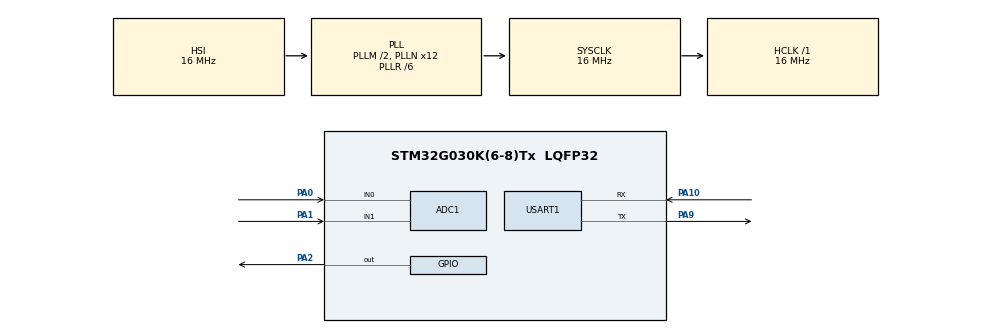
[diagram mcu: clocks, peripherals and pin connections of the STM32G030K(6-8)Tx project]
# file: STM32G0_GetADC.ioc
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ADC1.Channel-1\#ChannelRegularConversion=ADC_CHANNEL_0
ADC1.Channel-3\#ChannelRegularConversion=ADC_CHANNEL_1
ADC1.ClockPrescaler=ADC_CLOCK_ASYNC_DIV1
ADC1.ContinuousConvMode=ENABLE
ADC1.DMAContinuousRequests=ENABLE
ADC1.EOCSelection=ADC_EOC_SINGLE_CONV
ADC1.NbrOfConversion=2
ADC1.NbrOfConversionFlag=1
ADC1.OversamplingMode=ENABLE
ADC1.Rank-1\#ChannelRegularConversion=1
ADC1.Rank-3\#ChannelRegularConversion=2
ADC1.Ratio=ADC_OVERSAMPLING_RATIO_16
ADC1.RightBitShift=ADC_RIGHTBITSHIFT_4
ADC1.SamplingTime-1\#ChannelRegularConversion=ADC_SAMPLINGTIME_COMMON_1
ADC1.SamplingTime-3\#ChannelRegularConversion=ADC_SAMPLINGTIME_COMMON_1
ADC1.SamplingTimeCommon1=ADC_SAMPLETIME_160CYCLES_5
ADC1.SamplingTimeCommon2=ADC_SAMPLETIME_160CYCLES_5
ADC1.SelectedChannel=ADC_CHANNEL_0|ADC_CHANNEL_1
ADC1.master=1
Dma.ADC1.0.Direction=DMA_PERIPH_TO_MEMORY
Dma.ADC1.0.EventEnable=DISABLE
Dma.ADC1.0.Instance=DMA1_Channel1
Dma.ADC1.0.MemDataAlignment=DMA_MDATAALIGN_HALFWORD
Dma.ADC1.0.MemInc=DMA_MINC_ENABLE
Dma.ADC1.0.Mode=DMA_CIRCULAR
Dma.ADC1.0.PeriphDataAlignment=DMA_PDATAALIGN_HALFWORD
Dma.ADC1.0.PeriphInc=DMA_PINC_DISABLE
Dma.ADC1.0.Polarity=HAL_DMAMUX_REQ_GEN_RISING
Dma.ADC1.0.Priority=DMA_PRIORITY_LOW
Dma.ADC1.0.RequestNumber=1
Dma.ADC1.0.SignalID=NONE
Dma.ADC1.0.SyncEnable=DISABLE
Dma.ADC1.0.SyncPolarity=HAL_DMAMUX_SYNC_NO_EVENT
Dma.ADC1.0.SyncRequestNumber=1
Dma.ADC1.0.SyncSignalID=NONE
Dma.Request0=ADC1
Mcu.Family=STM32G0
Mcu.Name=STM32G030K(6-8)Tx
Mcu.Package=LQFP32
PA0.Mode=IN0
PA0.Signal=ADC1_IN0
PA1.Mode=IN1
PA1.Signal=ADC1_IN1
PA10.Mode=Asynchronous
PA10.Signal=USART1_RX
PA13.Mode=Serial_Wire
PA13.Signal=SYS_SWDIO
PA14-BOOT0.Mode=Serial_Wire
PA14-BOOT0.Signal=SYS_SWCLK
PA2.Signal=GPIO_Output
PA9.Mode=Asynchronous
PA9.Signal=USART1_TX
PC14-OSC32_IN\ (PC14).Mode=LSE-External-Oscillator
PC14-OSC32_IN\ (PC14).Signal=RCC_OSC32_IN
PC15-OSC32_OUT\ (PC15).Mode=LSE-External-Oscillator
PC15-OSC32_OUT\ (PC15).Signal=RCC_OSC32_OUT
ProjectManager.HeapSize=0x200
ProjectManager.StackSize=0x400
ProjectManager.TargetToolchain=MDK-ARM V5.32
RCC.ADCFreq_Value=16000000
RCC.AHBFreq_Value=16000000
RCC.CortexFreq_Value=16000000
RCC.EXTERNAL_CLOCK_VALUE=12288000
RCC.HCLKFreq_Value=16000000
RCC.HSE_VALUE=8000000
RCC.HSI_VALUE=16000000
RCC.PLLM=RCC_PLLM_DIV2
RCC.PLLN=12
RCC.PLLP=RCC_PLLP_DIV3
RCC.PLLR=RCC_PLLR_DIV6
RCC.SYSCLKFreq_VALUE=16000000
RCC.SYSCLKSource=RCC_SYSCLKSOURCE_PLLCLK
RCC.VCOOutputFreq_Value=96000000
USART1.VirtualMode-Asynchronous=VM_ASYNC
board=custom

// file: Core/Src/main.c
/* USER CODE BEGIN Header */
/**
  ******************************************************************************
  * @file           : main.c
  * @brief          : Main program body
  ******************************************************************************
  * @attention
  *
  * Copyright (c) 2025 STMicroelectronics.
  * All rights reserved.
  *
  * This software is licensed under terms that can be found in the LICENSE file
  * in the root directory of this software component.
  * If no LICENSE file comes with this software, it is provided AS-IS.
  *
  ******************************************************************************
  */
/* USER CODE END Header */
#include "main.h"
#include "adc.h"
#include "dma.h"
#include "usart.h"
#include "gpio.h"

/* USER CODE BEGIN Includes */
#include "stdio.h"
/* USER CODE END Includes */

void SystemClock_Config(void);

/* USER CODE BEGIN 0 */
float AD1_Value;
float AD0_Value;
float VOL_Value;
float CUR_Value;  // 去掉重复定义
float Input_V;
float Motor_V;
float Motor_I;
float W_Value;
ADC_ChannelConfTypeDef sConfig = {0};
uint16_t Get_ADC[80];
uint16_t ADValue;
float Voltage;
float W_Input_Value;
float W_Motor_Value;
float VOffset = 0.0f;
float IOffset = 0.0f;
int A = 0;
uint16_t Get_ADC1[2];
 float adc_vol1 =0;
 float adc_cur1 =0;

// 电压均值滤波参数
#define VOL_AVG_FILTER_LEN 40
float vol_avg_buf[VOL_AVG_FILTER_LEN] = {0};
int vol_avg_index = 0;

// 电流均值滤波参数
#define CURR_AVG_FILTER_LEN 20
float curr_avg_buf[CURR_AVG_FILTER_LEN] = {0};
int curr_avg_index = 0;

// 电压中值平均滤波参数
#define VOL_FILTER_LEN 40
#define VOL_USE_LEN 20
#define VOL_SKIP_LEN ((VOL_FILTER_LEN - VOL_USE_LEN) / 2)
float vol_buf[VOL_FILTER_LEN] = {0};
int vol_count = 0;

// 电流中值平均滤波参数
#define CURR_FILTER_LEN 40
#define CURR_USE_LEN 25
#define CURR_SKIP_LEN ((CURR_FILTER_LEN - CURR_USE_LEN) / 2)
float curr_buf[CURR_FILTER_LEN] = {0};
int curr_count = 0;

// 电压滑动窗口均值滤波（保持不变，简单高效）
float vol_avg_filter(float new_val) {
    vol_avg_buf[vol_avg_index] = new_val;
    vol_avg_index = (vol_avg_index + 1) % VOL_AVG_FILTER_LEN;
    float sum = 0;
    for (int i = 0; i < VOL_AVG_FILTER_LEN; i++) {
        sum += vol_avg_buf[i];
    }
    return sum / VOL_AVG_FILTER_LEN;
}

// 电流滑动窗口均值滤波（保持不变）
float curr_avg_filter(float new_val) {
    curr_avg_buf[curr_avg_index] = new_val;
    curr_avg_index = (curr_avg_index + 1) % CURR_AVG_FILTER_LEN;
    float sum = 0;
    for (int i = 0; i < CURR_AVG_FILTER_LEN; i++) {
        sum += curr_avg_buf[i];
    }
    return sum / CURR_AVG_FILTER_LEN;
}

// 选择排序（替代冒泡排序，交换次数更少，适合小样本）
static void select_sort(float arr[], int len) {
    for (int i = 0; i < len - 1; i++) {
        int min_idx = i;
        for (int j = i + 1; j < len; j++) {
            if (arr[j] < arr[min_idx]) {
                min_idx = j;  // 记录最小值索引
            }
        }
        // 只交换一次
        float temp = arr[i];
        arr[i] = arr[min_idx];
        arr[min_idx] = temp;
    }
}

// 电压中值平均滤波（用选择排序优化）
float vol_median_avg_filter(float new_val) {
    vol_buf[vol_count % VOL_FILTER_LEN] = new_val;
    vol_count++;
    if (vol_count < VOL_FILTER_LEN) {
        return new_val;
    }
    float temp[VOL_FILTER_LEN];
    for (int i = 0; i < VOL_FILTER_LEN; i++) {
        temp[i] = vol_buf[i];
    }
    select_sort(temp, VOL_FILTER_LEN);  // 替换为选择排序
    float sum = 0;
    for (int i = VOL_SKIP_LEN; i < VOL_SKIP_LEN + VOL_USE_LEN; i++) {
        sum += temp[i];
    }
    return sum / VOL_USE_LEN;
}

// 电流中值平均滤波（用选择排序优化）
float curr_median_avg_filter(float new_val) {
    curr_buf[curr_count % CURR_FILTER_LEN] = new_val;
    curr_count++;
    if (curr_count < CURR_FILTER_LEN) {
        return new_val;
    }
    float temp[CURR_FILTER_LEN];
    for (int i = 0; i < CURR_FILTER_LEN; i++) {
        temp[i] = curr_buf[i];
    }
    select_sort(temp, CURR_FILTER_LEN);  // 替换为选择排序
    float sum = 0;
    for (int i = CURR_SKIP_LEN; i < CURR_SKIP_LEN + CURR_USE_LEN; i++) {
        sum += temp[i];
    }
    return sum / CURR_USE_LEN;
}

// -------------------------- 零点校准滤波专属参数 --------------------------
// 电压零点滤波：滑动窗口长度（可根据实际噪声调整）
#define V_ZERO_AVG_FILTER_LEN 40
// 电压零点滤波缓冲区（存储历史零点样本）
float v_zero_avg_buf[V_ZERO_AVG_FILTER_LEN] = {0};
// 电压零点滤波缓冲区索引（循环更新）
int v_zero_avg_index = 0;

// 电流零点滤波：滑动窗口长度（可独立调整）
#define I_ZERO_AVG_FILTER_LEN 30
// 电流零点滤波缓冲区（存储历史零点样本）
float i_zero_avg_buf[I_ZERO_AVG_FILTER_LEN] = {0};
// 电流零点滤波缓冲区索引（循环更新）
int i_zero_avg_index = 0;
// --------------------------------------------------------------------------
// 电压零点校准均值滤波函数（滑动窗口平均）
// 功能：对零点校准过程中的电压值进行平滑处理，输出稳定的零点参考值
float V_zero_calib_avg_filter(float new_zero_val) {
    // 1. 新零点样本存入缓冲区（环形覆盖旧数据）
    v_zero_avg_buf[v_zero_avg_index] = new_zero_val;
    // 2. 循环更新索引（超出窗口长度后从头开始）
    v_zero_avg_index = (v_zero_avg_index + 1) % V_ZERO_AVG_FILTER_LEN;

    // 3. 计算窗口内所有零点样本的平均值
    float zero_vol_sum = 0.0f;
    for (int i = 0; i < V_ZERO_AVG_FILTER_LEN; i++) {

        zero_vol_sum += v_zero_avg_buf[i];
    }
    return zero_vol_sum / V_ZERO_AVG_FILTER_LEN;
}

// 电流零点校准均值滤波函数（滑动窗口平均）
// 功能：对零点校准过程中的电流值进行平滑处理，输出稳定的零点参考值
float I_zero_calib_avg_filter(float new_zero_val) {
    // 1. 新零点样本存入缓冲区（环形覆盖旧数据）
    i_zero_avg_buf[i_zero_avg_index] = new_zero_val;
    // 2. 循环更新索引（超出窗口长度后从头开始）
    i_zero_avg_index = (i_zero_avg_index + 1) % I_ZERO_AVG_FILTER_LEN;

    // 3. 计算窗口内所有零点样本的平均值
    float zero_cur_sum = 0.0f;
    for (int i = 0; i < I_ZERO_AVG_FILTER_LEN; i++) {
        zero_cur_sum += i_zero_avg_buf[i];
    }
    return zero_cur_sum / I_ZERO_AVG_FILTER_LEN;
}
/* USER CODE END 0 */

int main(void)
{

  /* MCU Configuration--------------------------------------------------------*/

  /* Reset of all peripherals, Initializes the Flash interface and the Systick. */
  HAL_Init();

  /* Configure the system clock */
  SystemClock_Config();

  /* Initialize all configured peripherals */
  MX_GPIO_Init();
  MX_DMA_Init();
  MX_ADC1_Init();
  MX_USART1_UART_Init();
  /* USER CODE BEGIN 2 */
	HAL_ADCEx_Calibration_Start(&hadc1);
//	HAL_ADC_Start_DMA(&hadc1,(uint32_t*)&Get_ADC,80);
		HAL_ADC_Start_DMA(&hadc1,(uint32_t*)&Get_ADC1,2);

  /* USER CODE END 2 */

  /* Infinite loop */
  /* USER CODE BEGIN WHILE */
  while (1)
  {
    /* USER CODE BEGIN 3 */
			A++;
		// 引脚改为GPIOA和GPIO_PIN_2，其余逻辑保持不变（亮15循环，灭15循环）
		HAL_GPIO_WritePin(GPIOA, GPIO_PIN_2, (A % 30) < 15 ? GPIO_PIN_SET : GPIO_PIN_RESET);
		if (A >= 30) A = 0;

    // ADC数据累加（用预计算常数减少运算）
    AD0_Value = 0;  // 提前清零，避免累加残留
    AD1_Value = 0;

		 float adc_vol1 = Get_ADC1[0] * (3.3f / 4095.0f);
		 float adc_cur1 = Get_ADC1[1] * (3.3f / 4095.0f);

		for(int i = 0; i < 80; i += 2) {
        // 电压计算：合并常数，减少浮点运算步骤
        float adc_vol = Get_ADC[i] * (3.3f / 4095.0f);  // 先算ADC对应的电压
        AD0_Value += (adc_vol - 2.43717f) * 20.43f;

        // 电流计算：同理优化
        float adc_cur = Get_ADC[i+1] * (3.3f / 4095.0f) ;
        AD1_Value += (adc_cur - 2.436) * (1.0f / 2.6f);
   }

    // 原始平均值计算
    float raw_vol = AD0_Value / 40.0f;  // 80个样本，每2个一组，共40组
    float raw_cur = AD1_Value / 40.0f;

    // 中值平均滤波
    VOL_Value = vol_median_avg_filter(raw_vol);
    CUR_Value = curr_median_avg_filter(raw_cur);

    // 零点校准（优化：标定时取10次平均，而非滑动窗口）
    if  (VOL_Value > -0.04f && VOL_Value < 0.04f) {
				VOffset=V_zero_calib_avg_filter(VOL_Value);

			 }
//			     if( VOL_Value > -0.0003f && VOL_Value < 0.0003f) {
//				IOffset=I_zero_calib_avg_filter(CUR_Value);
//			 }

    // 计算实际值（简化条件判断）
			Motor_V = (VOL_Value - VOffset);
			 Motor_I=CUR_Value;
//    Motor_I = CUR_Value - IOffset;
//		float I_Err=0.0f;
//
//		if(Motor_I<-0.120){
//		I_Err=Motor_I+0.120;
//		Motor_I+=I_Err*1.5;

//		}
    // 功率计算
    W_Motor_Value = Motor_V * Motor_I;

//		float T_I=Motor_I+Motor_V*0.01;
// 输出数据（保持原格式）
//    printf("simples:%f,%f,%f,%f,%f\n", Motor_V, Motor_I, W_Motor_Value, Input_V, W_Input_Value);
//			 printf("%f,%f,%f,%f\n\r", Motor_V,Motor_I ,W_Motor_Value,raw_cur );         // A
			 	 printf("%d,%d,%f,%f\n\r",   Get_ADC1[0], Get_ADC1[1], adc_vol1,adc_cur1);         // A
  }
}
  /* USER CODE END 3 */

void SystemClock_Config(void)
{
  RCC_OscInitTypeDef RCC_OscInitStruct = {0};
  RCC_ClkInitTypeDef RCC_ClkInitStruct = {0};

  /** Configure the main internal regulator output voltage
  */
  HAL_PWREx_ControlVoltageScaling(PWR_REGULATOR_VOLTAGE_SCALE1);

  /** Initializes the RCC Oscillators according to the specified parameters
  * in the RCC_OscInitTypeDef structure.
  */
  RCC_OscInitStruct.OscillatorType = RCC_OSCILLATORTYPE_HSI;
  RCC_OscInitStruct.HSIState = RCC_HSI_ON;
  RCC_OscInitStruct.HSIDiv = RCC_HSI_DIV1;
  RCC_OscInitStruct.HSICalibrationValue = RCC_HSICALIBRATION_DEFAULT;
  RCC_OscInitStruct.PLL.PLLState = RCC_PLL_ON;
  RCC_OscInitStruct.PLL.PLLSource = RCC_PLLSOURCE_HSI;
  RCC_OscInitStruct.PLL.PLLM = RCC_PLLM_DIV2;
  RCC_OscInitStruct.PLL.PLLN = 12;
  RCC_OscInitStruct.PLL.PLLP = RCC_PLLP_DIV3;
  RCC_OscInitStruct.PLL.PLLR = RCC_PLLR_DIV6;
  if (HAL_RCC_OscConfig(&RCC_OscInitStruct) != HAL_OK)
  {
    Error_Handler();
  }

  /** Initializes the CPU, AHB and APB buses clocks
  */
  RCC_ClkInitStruct.ClockType = RCC_CLOCKTYPE_HCLK|RCC_CLOCKTYPE_SYSCLK
                              |RCC_CLOCKTYPE_PCLK1;
  RCC_ClkInitStruct.SYSCLKSource = RCC_SYSCLKSOURCE_PLLCLK;
  RCC_ClkInitStruct.AHBCLKDivider = RCC_SYSCLK_DIV1;
  RCC_ClkInitStruct.APB1CLKDivider = RCC_HCLK_DIV1;

  if (HAL_RCC_ClockConfig(&RCC_ClkInitStruct, FLASH_LATENCY_0) != HAL_OK)
  {
    Error_Handler();
  }
}

void Error_Handler(void)
{
  __disable_irq();
  while (1)
  {
  }
}
